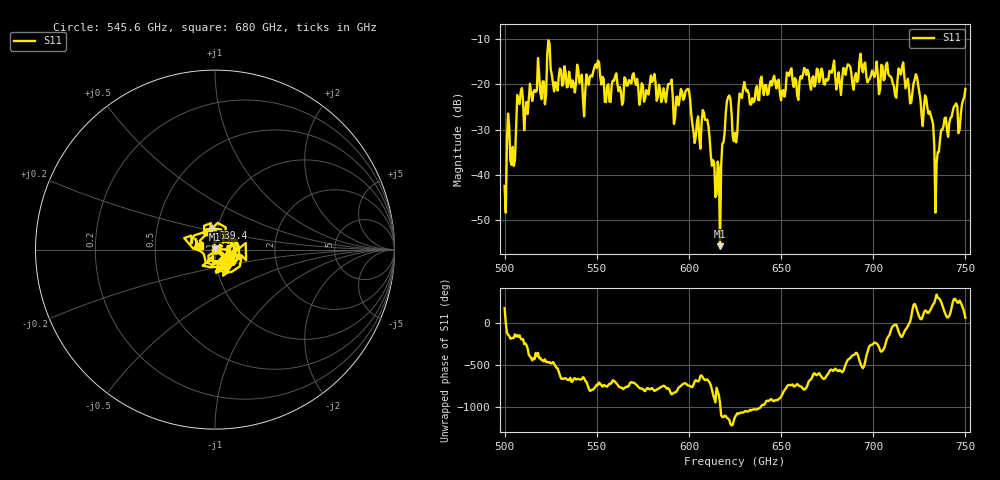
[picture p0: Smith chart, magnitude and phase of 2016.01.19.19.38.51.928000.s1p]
!Created with skrf (http://scikit-rf.org).
# GHz S RI R 50.0
!freq ReS11 ImS11
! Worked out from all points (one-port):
!   401 points, 500 GHz to 750 GHz, reference 50 ohm
!   lowest |S11| = -55.8 dB at 616.9 GHz (marker M1), VSWR 1.00, Z = 49.9 + j0.125 ohm
!   |S11| at or under -10 dB: start of sweep to end of sweep
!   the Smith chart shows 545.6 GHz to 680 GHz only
!   S11 on the Smith chart (normalised r, x): 545.6 GHz: 1.10, -0.18; 639.4 GHz: 0.94, +0.23; 680 GHz: 0.84, +0.04
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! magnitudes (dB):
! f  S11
! 500 GHz  -42.4
! 502.5 GHz  -29.4
! 504.4 GHz  -33.8
! 508.1 GHz  -24.3
! 521.2 GHz  -19.4
! 524.4 GHz  -10.9
! 527.5 GHz  -19.5
! 531.2 GHz  -20.3
! 545.6 GHz  -20.1
! 562.5 GHz  -20.6
! 593.8 GHz  -22.7
! 599.4 GHz  -21.0
! 603.1 GHz  -33.0
! 608.8 GHz  -27.8
! 615.6 GHz  -37.1
! 616.9 GHz  -55.8
! 621.2 GHz  -22.8
! 625 GHz  -30.7
! 628.8 GHz  -23.0
! 639.4 GHz  -18.3
! 656.2 GHz  -19.3
! 680 GHz  -21.1
! 687.5 GHz  -16.0
! 718.8 GHz  -18.7
! 729.4 GHz  -25.1
! 734.4 GHz  -37.4
! 738.1 GHz  -29.2
! 750 GHz  -21.0
